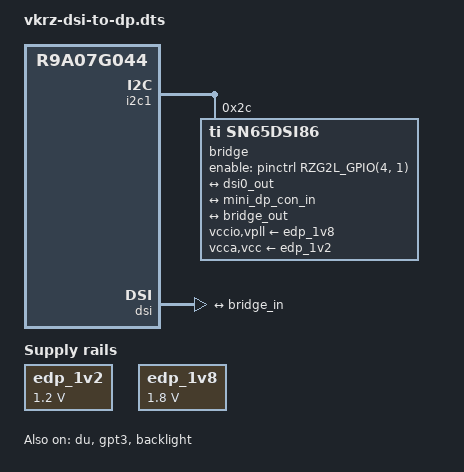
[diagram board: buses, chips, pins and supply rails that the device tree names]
     /*
 * Copyright 2026 Vekatech
 *
 * This program is free software; you can redistribute it and/or
 * modify it under the terms of the GNU General Public License
 * as published by the Free Software Foundation; either version 2
 * of the License, or (at your option) any later version.
 *
 * This program is distributed in the hope that it will be useful,
 * but WITHOUT ANY WARRANTY; without even the implied warranty of
 * MERCHANTABILITY or FITNESS FOR A PARTICULAR PURPOSE. See the
 * GNU General Public License for more details.
 */

/dts-v1/;
/plugin/;

#include <dt-bindings/pinctrl/rzg2l-pinctrl.h>
#include <dt-bindings/gpio/gpio.h>

/ {
	compatible = "vekatech,vkrzg2lc", "renesas,r9a07g044";

	fragment@6 {
		target-path = "/";
		__overlay__ {

			edp_1v2: 1p2v {
				compatible = "regulator-fixed";
				regulator-name = "edp_1v2";
				regulator-min-microvolt = <1200000>;
				regulator-max-microvolt = <1200000>;
				regulator-always-on;
			};
			edp_1v8: 1p8v {
				compatible = "regulator-fixed";
				regulator-name = "edp_1v8";
				regulator-min-microvolt = <1800000>;
				regulator-max-microvolt = <1800000>;
				regulator-always-on;
			};

			// mini-dp-con {
			// 	status = "okay";
			// 	compatible = "dp-connector";
			// 	label = "CN3";
			// 	type = "mini";

			// 	port {
			// 		mini_dp_con_in: endpoint {
			// 			remote-endpoint = <&bridge_out>;
			// 		};
			// 	};
			// };
		};
	};
};

&i2c1 {
	#address-cells = <1>;
	#size-cells = <0>;

	bridge@2c {
		status = "okay";
		compatible = "ti,sn65dsi86";
		reg = <0x2c>;

		enable-gpios = <&pinctrl RZG2L_GPIO(4, 1) GPIO_ACTIVE_HIGH>;

		vccio-supply = <&edp_1v8>;
		vpll-supply = <&edp_1v8>;
		vcca-supply = <&edp_1v2>;
		vcc-supply = <&edp_1v2>;

		ports {
			#address-cells = <1>;
			#size-cells = <0>;

			port@0 {
				reg = <0>;
				bridge_in: endpoint {
					remote-endpoint = <&dsi0_out>;
					data-lanes = <1 2 3 4>;
				};
			};

			port@1 {
				reg = <1>;
				bridge_out: endpoint {
					data-lanes = <0 1 2 3>;
					remote-endpoint = <&mini_dp_con_in>;
				};
			};
		};

        aux-bus {
			mini-dp-con {
				status = "okay";
				compatible = "dp-connector";
				label = "CN3";
				type = "mini";
				port {
					mini_dp_con_in: endpoint {
						remote-endpoint = <&bridge_out>;
					};
				};
			};
        };
	};
};

&du {
	status = "okay";
};

&dsi {
	status = "okay";
	ports {
		#address-cells = <1>;
		#size-cells = <0>;
		port@1 {
			reg = <1>;
			dsi0_out: endpoint {
				data-lanes = <1 2 3 4>;
				remote-endpoint = <&bridge_in>;
			};
		};
	};
};

&gpt3 {
	status = "okay";
};

&backlight {
	status = "okay";
};
